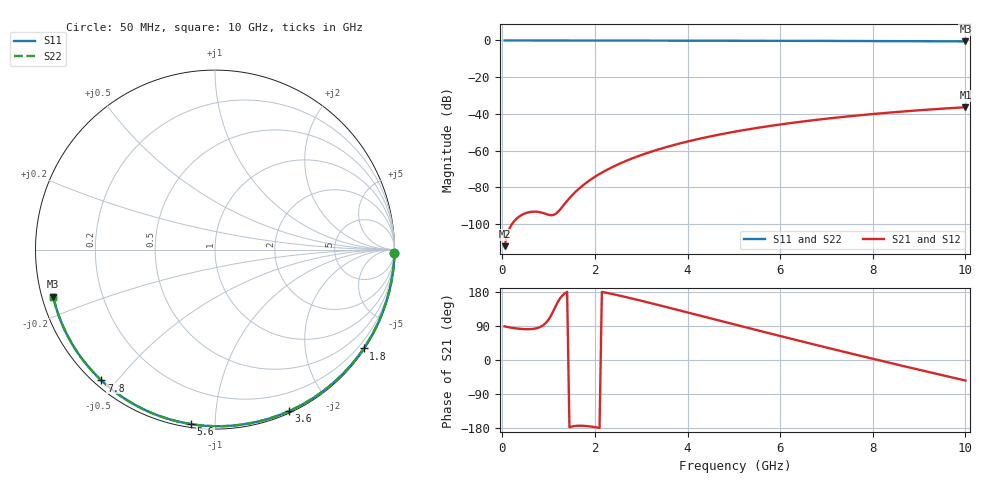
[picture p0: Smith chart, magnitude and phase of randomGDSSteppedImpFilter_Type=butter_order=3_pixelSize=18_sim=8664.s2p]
! freq	dB(S11)	phase(S11)	dB(S12)	phase(S12)
!  dB(S21)	phase(S21)	dB(S22)	phase(S22)
!S-par simulation data
#  GHz  S  DB  R 50
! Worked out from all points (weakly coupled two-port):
!   200 points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, 50 MHz to 10 GHz, reference 50 ohm
!   highest |S21| = -36.41 dB at 10 GHz (marker M1); lowest = -112.2 dB at 50 MHz (marker M2)
!   lowest |S11| = -0.5 dB at 10 GHz (marker M3), VSWR 31.80, Z = 1.6 - j7.14 ohm
!   |S11| at or under -10 dB: nowhere
!   |S22| runs from -0.5 to 0.0 dB; largest |S21 - S12| = 0
!   S11 on the Smith chart (normalised r, x): 50 MHz: open; 1.8 GHz: 0.03, -3.31; 3.6 GHz: 0.02, -1.56; 5.6 GHz: 0.02, -0.87; 7.8 GHz: 0.02, -0.46; 10 GHz: 0.03, -0.14
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0.05  -0.00 -1.0  -112.15 88.7  -112.15 88.7  -0.00 -1.0
0.45  -0.01 -8.5  -94.74 81.6  -94.74 81.6  -0.01 -8.5
0.85  -0.02 -16.1  -93.84 89.1  -93.84 89.1  -0.02 -16.1
1.65  -0.04 -30.9  -80.94 -173.4  -80.94 -173.4  -0.04 -30.9
1.7  -0.04 -31.8  -79.85 -173.4  -79.85 -173.4  -0.04 -31.8
1.75  -0.04 -32.7  -78.81 -173.7  -78.81 -173.7  -0.04 -32.7
1.8  -0.04 -33.6  -77.83 -174.1  -77.83 -174.1  -0.04 -33.6
2.1  -0.05 -39.0  -72.78 -179.2  -72.78 -179.2  -0.05 -39.0
2.3  -0.05 -42.6  -70.00 176.1  -70.00 176.1  -0.05 -42.6
2.5  -0.06 -46.2  -67.56 170.8  -67.56 170.8  -0.06 -46.2
2.9  -0.07 -53.3  -63.41 159.4  -63.41 159.4  -0.07 -53.3
3.4  -0.08 -61.9  -59.19 144.2  -59.19 144.2  -0.08 -61.9
3.6  -0.09 -65.3  -57.73 138.0  -57.73 138.0  -0.09 -65.3
4.3  -0.11 -77.0  -53.34 116.1  -53.34 116.1  -0.11 -77.0
5.05  -0.14 -89.2  -49.59 92.7  -49.59 92.7  -0.14 -89.2
5.6  -0.16 -97.8  -47.29 75.6  -47.29 75.6  -0.16 -97.8
6.15  -0.19 -106.3  -45.29 58.7  -45.29 58.7  -0.19 -106.3
6.7  -0.22 -114.6  -43.52 42.0  -43.52 42.0  -0.22 -114.6
7.8  -0.31 -131.0  -40.58 9.1  -40.58 9.1  -0.31 -131.0
8.35  -0.36 -139.1  -39.35 -7.0  -39.35 -7.0  -0.36 -139.1
9.2  -0.45 -151.7  -37.70 -31.5  -37.70 -31.5  -0.45 -151.6
10  -0.55 -163.7  -36.41 -54.2  -36.41 -54.2  -0.55 -163.7
